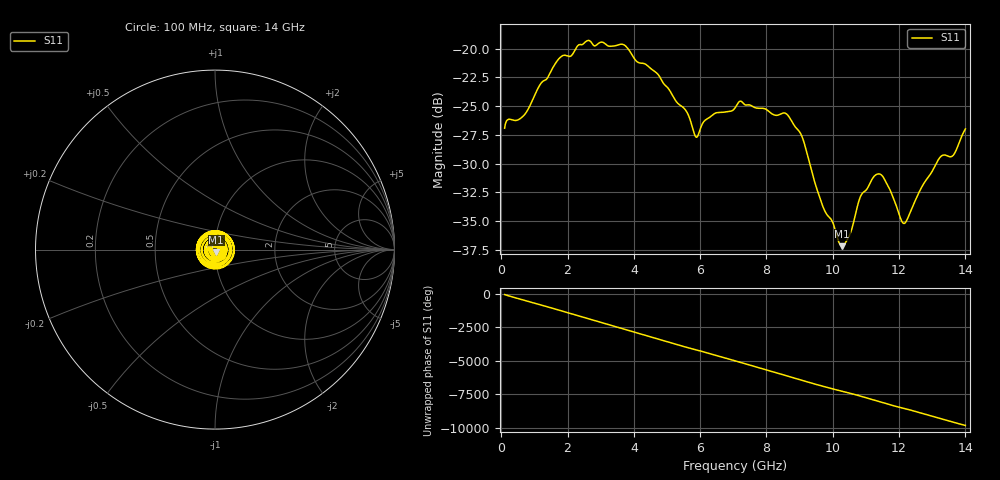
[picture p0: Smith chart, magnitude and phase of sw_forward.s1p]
!Keysight Technologies E5080B MY59100652 A.14.10.03
!Date: Monday  May 23  2022 11:51:32
!Correction: a2/b2 P1
!S1P File: Measurement: :
# Hz S  RI  R 50
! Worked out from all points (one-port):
!   696 points, 100 MHz to 14 GHz, reference 50 ohm
!   lowest |S11| = -37.2 dB at 10.28 GHz (marker M1), VSWR 1.03, Z = 50.6 - j1.27 ohm
!   |S11| at or under -10 dB: start of sweep to end of sweep
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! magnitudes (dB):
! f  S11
! 100 MHz  -26.9
! 700 MHz  -25.7
! 1.16 GHz  -23.2
! 1.84 GHz  -20.6
! 2.1 GHz  -20.7
! 2.6 GHz  -19.3
! 3.58 GHz  -19.6
! 4.7 GHz  -22.2
! 5.32 GHz  -24.7
! 5.6 GHz  -25.5
! 5.88 GHz  -27.7
! 6.18 GHz  -26.2
! 7.06 GHz  -25.1
! 7.22 GHz  -24.6
! 8.56 GHz  -25.6
! 8.8 GHz  -26.5
! 9.08 GHz  -27.7
! 9.66 GHz  -33.4
! 10.28 GHz  -37.2
! 10.54 GHz  -36.0
! 10.84 GHz  -32.8
! 11.34 GHz  -30.9
! 11.6 GHz  -31.6
! 12.1 GHz  -35.1
! 12.28 GHz  -34.6
! 13.2 GHz  -29.6
! 13.64 GHz  -29.2
! 14 GHz  -27.0
